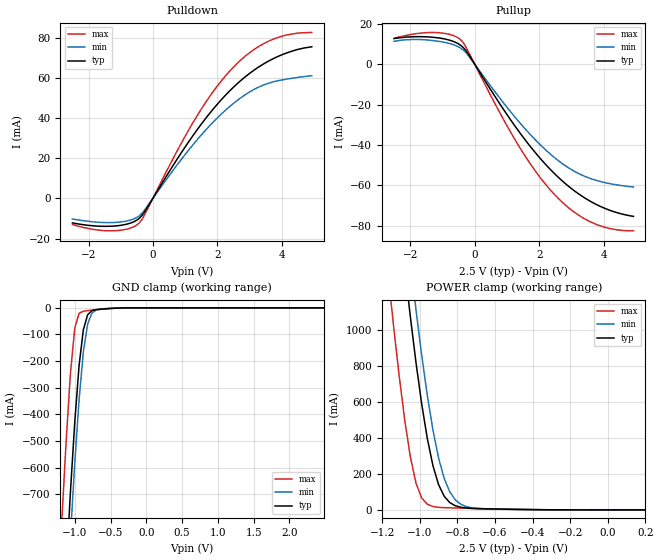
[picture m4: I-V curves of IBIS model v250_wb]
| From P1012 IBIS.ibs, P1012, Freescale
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|   Model v250_wb
[Model]   v250_wb
Model_type   I/O
Polarity   Non-Inverting
Enable   Active-High
Vinl = 0.7V
Vinh = 1.7V
Vmeas =1.25V
Cref = 0
Rref = 50
Vref = 1.25V
C_comp   3.0088pF   2.9071pF   3.0187pF
[Temperature Range]   85.0000   0.1250k   -40.0000
[Voltage Range]   2.5000V   2.2500V   2.7500V
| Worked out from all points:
|   slope of the pulldown table from 0 to 0.375 V, typ, clamps not added: 38.1 ohm
|   slope of the pullup table from 0 to 0.375 V, typ, clamps not added: 39.1 ohm
|   GND clamp passes 1 mA (typ) near -0.40 V on its own axis
|   POWER clamp passes 1 mA (typ) near -0.37 V on its own axis
[Pulldown]
|Voltage   I(typ)   I(min)   I(max)
-2.5V     -12.21mA   -10.24mA   -13.01mA
-1.38V    -13.89mA   -12.06mA   -16.15mA
-500mV    -10.85mA   -9.519mA   -13.28mA
-260mV    -6.793mA   -5.842mA   -8.268mA
700mV     18.15mA    15.51mA    21.97mA
1.34V     33.32mA    28.46mA    40.15mA
1.9V      44.89mA    38.36mA    53.67mA
2.38V     53.32mA    45.57mA    63.15mA
2.94V     61.33mA    52.26mA    71.61mA
3.58V     68.14mA    57.19mA    78.04mA
4.22V     72.67mA    59.5mA     81.45mA
4.94V     75.4mA     61mA       82.5mA
[Pullup]
|Voltage   I(typ)   I(min)   I(max)
-2.5V     12.7mA     11.4mA     12.8mA
-1.24V    13.26mA    11.62mA    15.71mA
-760mV    11.82mA    10.17mA    14.71mA
-440mV    9.431mA    8.034mA    12.21mA
-200mV    5.111mA    4.372mA    6.304mA
1.32V     -32.2mA    -27.54mA   -39.25mA
1.88V     -43.79mA   -37.44mA   -52.88mA
2.36V     -52.34mA   -44.7mA    -62.5mA
2.92V     -60.56mA   -51.4mA    -71.17mA
3.56V     -67.62mA   -56.41mA   -77.8mA
4.2V      -72.37mA   -59.14mA   -81.35mA
4.92V     -75.3mA    -60.79mA   -82.47mA
[GND_clamp]
|Voltage   I(typ)   I(min)   I(max)
-2.5V     -8.959A    -9.088A    -8.56A
-1.18V    -1.286A    -1.46A     -794.1mA
-1.12V    -978.5mA   -1.151A    -498.3mA
-1.06V    -689.1mA   -856mA     -244.2mA
-1V       -428.7mA   -583.2mA   -76.41mA
-940mV    -217.3mA   -346mA     -20.8mA
-880mV    -82.19mA   -165.4mA   -12.47mA
-820mV    -25.87mA   -60.66mA   -10.38mA
-760mV    -10.48mA   -19.68mA   -8.788mA
-700mV    -6.565mA   -7.882mA   -7.257mA
-280mV    -139.5uA   -95.66uA   -76.3uA
2.48V     20.01uA    128uA      25.01uA
[POWER_clamp]
|Voltage   I(typ)   I(min)   I(max)
-2.49V    17.95A     18.09A     17.34A
-1.17V    2.265A     2.597A     1.335A
-1.14V    1.951A     2.281A     1.033A
-1.08V    1.354A     1.674A     501.9mA
-1.05V    1.078A     1.388A     295.7mA
-1.02V    822mA      1.117A     149.3mA
-960mV    399.3mA    640.1mA    31.29mA
-930mV    247.4mA    446.1mA    18.41mA
-870mV    75.77mA    175.4mA    12.27mA
-810mV    22.38mA    54.64mA    10.35mA
-660mV    5.855mA    5.94mA     6.475mA
200mV     0A         0A         0A
[Ramp]
| variable   typ   min   max
dV/dt_r  0.8278/0.3783n   0.6909/0.5385n   0.9929/0.2301n
dV/dt_f  0.8353/0.3549n   0.6974/0.4919n   0.9965/0.2324n
R_load = 50.0000
|End [Model] v250_wb
